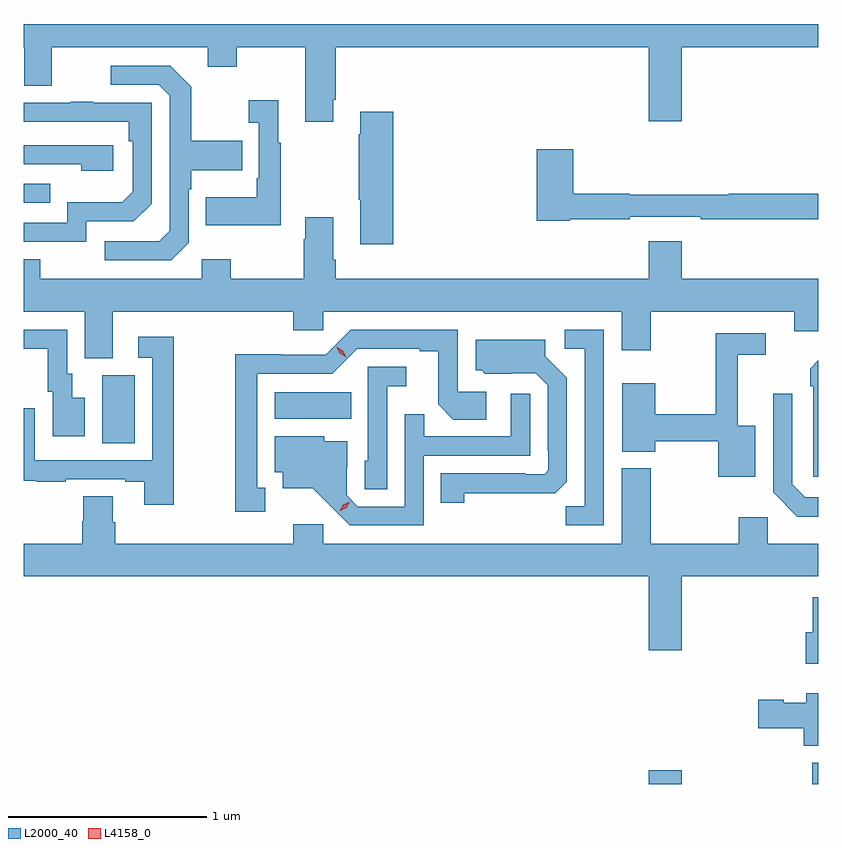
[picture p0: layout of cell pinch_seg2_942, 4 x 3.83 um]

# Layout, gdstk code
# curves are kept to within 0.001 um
import gdstk
lib = gdstk.Library(unit=1e-6, precision=1e-09)
def R(c, l, rs):  # rectangles x0, y0, x1, y1
    for r in rs: c.add(gdstk.rectangle(r[:2], r[2:], *l))
def P(c, l, *ps):  # polygons
    for p in ps: c.add(gdstk.Polygon(p, *l))
L2000_40 = (2000, 40)
L4158_0 = (4158, 0)

pinch_seg2_942 = lib.new_cell('pinch_seg2_942')
R(pinch_seg2_942, L2000_40, [(320.852,662.573,321.016,662.641), (321.673,662.573,321.704,662.68), (318.098,664.288,318.262,664.632), (318.968,664.412,319.352,664.546), (317.704,665.499,317.837,665.595)])
P(pinch_seg2_942, L2000_40, [(319.261,666.019),(319.274,666.019),(319.274,666.284),(320.852,666.284),(320.852,665.91),(321.016,665.91),(321.016,666.284),(321.704,666.284),(321.704,666.4),(317.704,666.4),(317.704,666.284),(317.705,666.284),(317.705,666.09),(317.845,666.09),(317.845,666.284),(318.629,666.284),(318.629,666.185),(318.777,666.185),(318.777,666.284),(319.121,666.284),(319.121,665.907),(319.261,665.907)],
  [(318.534,665.298),(318.534,665.567),(318.547,665.567),(318.547,665.663),(318.803,665.663),(318.803,665.811),(318.547,665.811),(318.547,666.083),(318.441,666.189),(318.141,666.189),(318.141,666.093),(318.384,666.093),(318.438,666.039),(318.438,665.358),(318.387,665.307),(318.111,665.307),(318.111,665.211),(318.447,665.211)],
  [(318.997,665.803),(318.985,665.803),(318.985,666.016),(318.837,666.016),(318.837,665.903),(318.888,665.903),(318.888,665.623),(318.876,665.623),(318.876,665.527),(318.619,665.527),(318.619,665.387),(318.997,665.387)],
  [(318.018,665.406),(318.258,665.406),(318.348,665.496),(318.348,666.003),(318.053,666.003),(318.053,666.008),(317.941,666.008),(317.941,666.003),(317.704,666.003),(317.704,665.907),(318.232,665.907),(318.232,665.81),(318.252,665.81),(318.252,665.556),(318.199,665.503),(317.922,665.503),(317.922,665.4),(317.704,665.4),(317.704,665.304),(318.018,665.304)],
  [(319.565,665.959),(319.397,665.959),(319.397,665.846),(319.39,665.846),(319.39,665.515),(319.397,665.515),(319.397,665.292),(319.565,665.292)],
  [(318.154,665.79),(317.704,665.79),(317.704,665.694),(317.993,665.694),(317.993,665.66),(318.154,665.66)],
  [(320.454,665.418),(320.756,665.418),(320.756,665.43),(321.112,665.43),(321.112,665.418),(321.704,665.418),(321.704,665.546),(321.254,665.546),(321.254,665.539),(320.754,665.539),(320.754,665.546),(320.471,665.546),(320.471,665.77),(320.288,665.77),(320.288,665.41),(320.454,665.41)],
  [(318.151,664.952),(319.061,664.952),(319.061,664.859),(319.212,664.859),(319.212,664.952),(320.714,664.952),(320.714,664.758),(320.862,664.758),(320.862,664.952),(321.584,664.952),(321.584,664.854),(321.704,664.854),(321.704,665.116),(321.016,665.116),(321.016,665.305),(320.852,665.305),(320.852,665.116),(319.274,665.116),(319.274,665.212),(319.261,665.212),(319.261,665.428),(319.121,665.428),(319.121,665.315),(319.114,665.315),(319.114,665.116),(318.747,665.116),(318.747,665.215),(318.6,665.215),(318.6,665.116),(317.787,665.116),(317.787,665.215),(317.704,665.215),(317.704,664.952),(318.011,664.952),(318.011,664.717),(318.151,664.717)],
  [(318.01,664.519),(317.947,664.519),(317.947,664.638),(317.922,664.638),(317.922,664.86),(317.704,664.86),(317.704,664.764),(317.825,664.764),(317.825,664.548),(317.849,664.548),(317.849,664.323),(318.01,664.323)],
  [(320.625,664.86),(320.427,664.86),(320.427,664.764),(320.529,664.764),(320.529,663.971),(320.434,663.971),(320.434,663.876),(320.625,663.876)],
  [(318.919,664.065),(318.88,664.065),(318.88,664.638),(319.257,664.638),(319.383,664.764),(319.697,664.764),(319.697,664.752),(319.791,664.752),(319.791,664.484),(319.867,664.408),(320.032,664.408),(320.032,664.548),(319.89,664.548),(319.89,664.86),(319.35,664.86),(319.224,664.734),(319.002,664.734),(319.002,664.736),(318.769,664.736),(318.769,663.945),(318.919,663.945)],
  [(321.388,664.378),(321.299,664.378),(321.299,664.734),(321.439,664.734),(321.439,664.842),(321.189,664.842),(321.189,664.436),(320.884,664.436),(320.884,664.591),(320.717,664.591),(320.717,664.247),(320.884,664.247),(320.884,664.3),(321.201,664.3),(321.201,664.121),(321.388,664.121)],
  [(318.46,664.825),(318.279,664.825),(318.279,664.719),(318.351,664.719),(318.351,664.203),(317.76,664.203),(317.76,664.465),(317.704,664.465),(317.704,664.101),(317.767,664.101),(317.767,664.095),(317.915,664.095),(317.915,664.107),(318.215,664.107),(318.215,664.095),(318.311,664.095),(318.311,663.978),(318.46,663.978)],
  [(319.923,664.036),(320.38,664.037),(320.439,664.096),(320.439,664.618),(320.329,664.728),(320.329,664.81),(319.979,664.81),(319.979,664.656),(320.01,664.656),(320.026,664.64),(320.283,664.641),(320.343,664.581),(320.343,664.252),(320.346,664.252),(320.346,664.152),(320.328,664.134),(320.228,664.134),(320.228,664.137),(319.804,664.137),(319.804,663.99),(319.923,663.99)],
  [(321.704,664.706),(321.663,664.665),(321.663,664.577),(321.678,664.577),(321.678,664.119),(321.704,664.119)],
  [(319.533,664.577),(319.63,664.577),(319.63,664.674),(319.437,664.674),(319.437,664.2),(319.422,664.2),(319.422,664.057),(319.533,664.057)],
  [(321.704,664.017),(321.639,664.017),(321.573,664.083),(321.573,664.537),(321.477,664.537),(321.477,664.041),(321.598,663.92),(321.704,663.92)],
  [(319.719,664.227),(320.253,664.227),(320.253,664.537),(320.157,664.537),(320.157,664.323),(319.721,664.323),(319.721,664.436),(319.623,664.436),(319.623,663.969),(319.386,663.969),(319.329,664.026),(319.329,664.168),(319.333,664.168),(319.333,664.3),(319.218,664.3),(319.218,664.324),(318.968,664.324),(318.968,664.142),(319.007,664.142),(319.007,664.061),(319.159,664.061),(319.346,663.876),(319.719,663.876)],
  [(321.016,663.62),(321.704,663.62),(321.704,663.784),(321.45,663.784),(321.45,663.916),(321.304,663.916),(321.304,663.784),(320.862,663.784),(320.862,664.162),(320.714,664.162),(320.714,663.784),(319.212,663.784),(319.212,663.88),(319.061,663.88),(319.061,663.784),(318.164,663.784),(318.164,663.89),(318.151,663.89),(318.151,664.022),(318.004,664.022),(318.004,663.897),(317.999,663.897),(317.999,663.784),(317.704,663.784),(317.704,663.62),(320.852,663.62),(320.852,663.246),(321.016,663.246)],
  [(321.704,663.514),(321.676,663.514),(321.676,663.337),(321.642,663.337),(321.642,663.179),(321.704,663.179)],
  [(321.704,663.031),(321.644,663.031),(321.644,662.983),(321.531,662.983),(321.531,662.996),(321.402,662.996),(321.402,662.854),(321.632,662.854),(321.632,662.765),(321.704,662.765)])
P(pinch_seg2_942, L4158_0, [(319.296,663.949),(319.296,663.95),(319.313,663.979),(319.344,663.994),(319.344,663.994),(319.344,663.994),(319.327,663.965),(319.297,663.949)],
  [(319.327,664.722),(319.296,664.741),(319.279,664.774),(319.279,664.774),(319.279,664.774),(319.31,664.755),(319.328,664.722),(319.328,664.722)])

lib.write_gds('pinch_seg2_942.gds')
